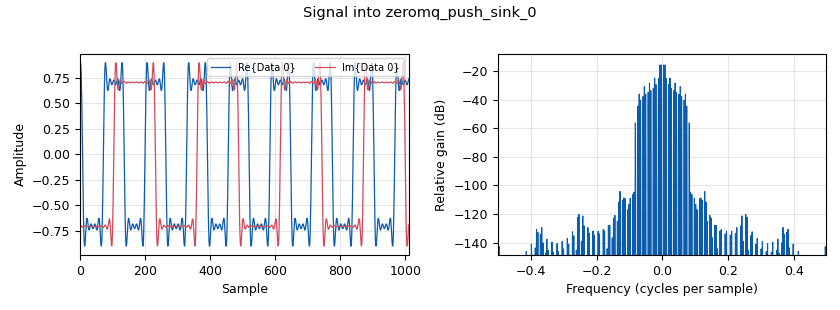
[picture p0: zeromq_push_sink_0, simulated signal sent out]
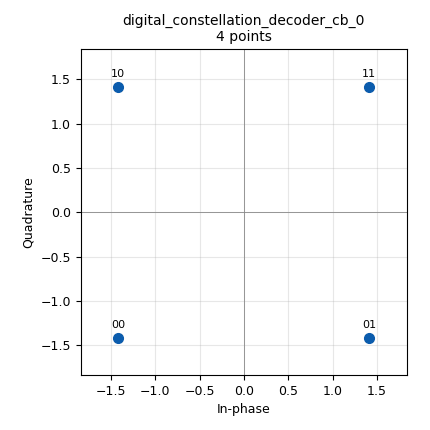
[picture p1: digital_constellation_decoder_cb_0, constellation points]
options:
  parameters:
    author: shup-liu
    generate_options: qt_gui
    id: bladerf_digital_loopback
    output_language: python
    title: Not titled yet
  states: {}

blocks:
- name: alpha_rolloff
  id: variable
  parameters:
    value: '0.35'
  states: {}
- name: constell0
  id: variable_constellation
  parameters:
    precision: '8'
    type: qpsk
  states: {}
- name: frequency
  id: variable_qtgui_range
  parameters:
    start: 500e6
    step: 100e6
    stop: 2.5e9
    value: 2.1e9
  states: {}
- name: samp_rate
  id: variable
  parameters:
    value: 2e6
  states: {}
- name: sps
  id: variable
  parameters:
    comment: sample_per_symbol
    value: '8'
  states: {}
- name: analog_agc3_xx_0
  id: analog_agc3_xx
  parameters:
    attack_rate: '1e-3'
    comment: AGC3 is better...?
    decay_rate: '1e-4'
    gain: '1.0'
    iir_update_decim: '1'
    max_gain: '65536'
    reference: '1.0'
    type: complex
  states: {}
- name: blocks_multiply_const_vxx_0
  id: blocks_multiply_const_vxx
  parameters:
    comment: No idea what this does
    const: '0.5'
    type: complex
  states: {}
- name: blocks_pack_k_bits_bb_0
  id: blocks_pack_k_bits_bb
  parameters:
    k: '2'
  states: {}
- name: blocks_skiphead_0
  id: blocks_skiphead
  parameters:
    num_items: int(samp_rate)
    type: complex
  states: {}
- name: blocks_throttle2_0
  id: blocks_throttle2
  parameters:
    samples_per_second: samp_rate/100
    type: complex
  states: {}
- name: blocks_uchar_to_float_0
  id: blocks_uchar_to_float
  parameters: {}
  states: {}
- name: blocks_unpack_k_bits_bb_0
  id: blocks_unpack_k_bits_bb
  parameters:
    k: '2'
  states: {}
- name: blocks_vector_source_x_0
  id: blocks_vector_source_x
  parameters:
    repeat: 'True'
    type: byte
    vector: (0, 0, 0, 1, 1, 0, 1, 1)
  states: {}
- name: digital_constellation_decoder_cb_0
  id: digital_constellation_decoder_cb
  parameters:
    constellation: constell0
  states: {}
- name: digital_constellation_modulator_0
  id: digital_constellation_modulator
  parameters:
    constellation: constell0
    differential: 'True'
    excess_bw: alpha_rolloff
    samples_per_symbol: sps
  states: {}
- name: digital_costas_loop_cc_0
  id: digital_costas_loop_cc
  parameters:
    order: '4'
    w: 2*math.pi/200
  states: {}
- name: digital_fll_band_edge_cc_0
  id: digital_fll_band_edge_cc
  parameters:
    filter_size: sps*2+1
    rolloff: alpha_rolloff
    samps_per_sym: sps
    type: cc
    w: 2*math.pi/sps/100
  states: {}
- name: digital_symbol_sync_xx_0
  id: digital_symbol_sync_xx
  parameters:
    constellation: digital.constellation_qpsk().base()
    damping: '1.0'
    loop_bw: '0.045'
    max_dev: '1.5'
    osps: '1'
    resamp_type: digital.IR_MMSE_8TAP
    sps: sps
    ted_gain: '1.0'
    ted_type: digital.TED_GARDNER
    type: cc
  states: {}
- name: import_0
  id: import
  parameters:
    imports: import math
  states: {}
- name: qtgui_const_sink_x_0
  id: qtgui_const_sink_x
  parameters:
    size: '1024'
    type: complex
  states: {}
- name: qtgui_sink_x_0
  id: qtgui_sink_x
  parameters:
    bw: samp_rate
    fc: '0'
    fftsize: '1024'
    type: complex
  states: {state: disabled}
- name: qtgui_time_sink_x_1
  id: qtgui_time_sink_x
  parameters:
    ctrlpanel: 'True'
    size: '1024'
    srate: samp_rate
    type: complex
  states: {}
- name: qtgui_time_sink_x_3
  id: qtgui_time_sink_x
  parameters:
    ctrlpanel: 'True'
    marker1: '0'
    name: '"Unpacked data"'
    size: '1024'
    srate: samp_rate
    type: float
  states: {}
- name: root_raised_cosine_filter_0
  id: root_raised_cosine_filter
  parameters:
    alpha: alpha
    decim: '1'
    gain: '1'
    ntaps: 11*sps
    samp_rate: samp_rate
    sym_rate: samp_rate/sps
    type: fir_filter_ccf
  states: {state: disabled}
- name: soapy_bladerf_sink_0
  id: soapy_bladerf_sink
  parameters:
    center_freq: frequency
    gain: '20'
    samp_rate: samp_rate
    type: fc32
  states: {state: disabled}
- name: soapy_bladerf_source_1
  id: soapy_bladerf_source
  parameters:
    center_freq: frequency
    gain: '40'
    samp_rate: samp_rate
    type: fc32
  states: {state: disabled}
- name: soapy_plutosdr_sink_0
  id: soapy_plutosdr_sink
  parameters:
    center_freq: 2.1e9
    gain: '60'
    samp_rate: samp_rate
    type: fc32
  states: {state: disabled}
- name: soapy_plutosdr_source_0
  id: soapy_plutosdr_source
  parameters:
    center_freq: 2.1e9
    gain: '40'
    samp_rate: samp_rate
    type: fc32
  states: {state: disabled}
- name: zeromq_push_sink_0
  id: zeromq_push_sink
  parameters:
    address: tcp://127.0.0.1:5555
    timeout: '100'
    type: complex
  states: {}
- name: zeromq_sub_source_0
  id: zeromq_sub_source
  parameters:
    address: tcp://127.0.0.1:5555
    timeout: '100'
    type: complex
  states: {}

connections:
- [analog_agc3_xx_0, '0', digital_fll_band_edge_cc_0, '0']
- [blocks_multiply_const_vxx_0, '0', blocks_throttle2_0, '0']
- [blocks_multiply_const_vxx_0, '0', qtgui_sink_x_0, '0']
- [blocks_multiply_const_vxx_0, '0', soapy_bladerf_sink_0, '0']
- [blocks_multiply_const_vxx_0, '0', soapy_plutosdr_sink_0, '0']
- [blocks_pack_k_bits_bb_0, '0', digital_constellation_modulator_0, '0']
- [blocks_skiphead_0, '0', digital_symbol_sync_xx_0, '0']
- [blocks_throttle2_0, '0', zeromq_push_sink_0, '0']
- [blocks_uchar_to_float_0, '0', qtgui_time_sink_x_3, '0']
- [blocks_unpack_k_bits_bb_0, '0', blocks_uchar_to_float_0, '0']
- [blocks_vector_source_x_0, '0', blocks_pack_k_bits_bb_0, '0']
- [digital_constellation_decoder_cb_0, '0', blocks_unpack_k_bits_bb_0, '0']
- [digital_constellation_modulator_0, '0', blocks_multiply_const_vxx_0, '0']
- [digital_costas_loop_cc_0, '0', digital_constellation_decoder_cb_0, '0']
- [digital_costas_loop_cc_0, '0', qtgui_const_sink_x_0, '0']
- [digital_costas_loop_cc_0, '0', qtgui_time_sink_x_1, '0']
- [digital_fll_band_edge_cc_0, '0', blocks_skiphead_0, '0']
- [digital_fll_band_edge_cc_0, '0', root_raised_cosine_filter_0, '0']
- [digital_symbol_sync_xx_0, '0', digital_costas_loop_cc_0, '0']
- [root_raised_cosine_filter_0, '0', digital_symbol_sync_xx_0, '0']
- [root_raised_cosine_filter_0, '0', qtgui_const_sink_x_0, '0']
- [root_raised_cosine_filter_0, '0', qtgui_time_sink_x_1, '0']
- [soapy_bladerf_source_1, '0', analog_agc3_xx_0, '0']
- [soapy_plutosdr_source_0, '0', analog_agc3_xx_0, '0']
- [zeromq_sub_source_0, '0', analog_agc3_xx_0, '0']

metadata:
  file_format: 1
  grc_version: 3.10.12.0
